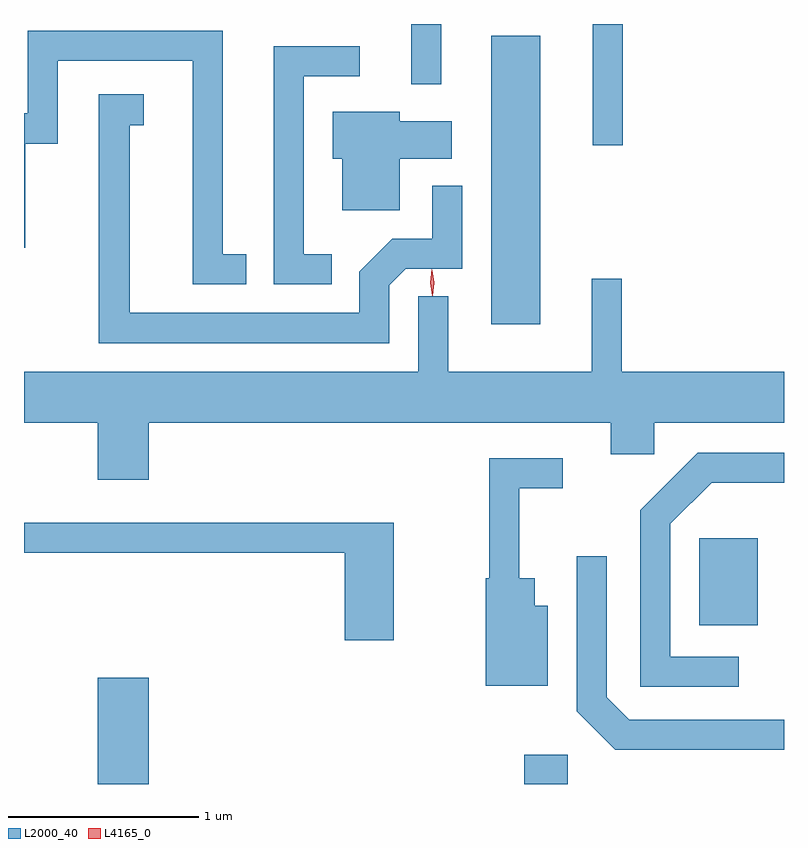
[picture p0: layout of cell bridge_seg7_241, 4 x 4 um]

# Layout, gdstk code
import gdstk
lib = gdstk.Library(unit=1e-6, precision=1e-09)
def R(c, l, rs):  # rectangles x0, y0, x1, y1
    for r in rs: c.add(gdstk.rectangle(r[:2], r[2:], *l))
def P(c, l, *ps):  # polygons
    for p in ps: c.add(gdstk.Polygon(p, *l))
L2000_40 = (2000, 40)
L4165_0 = (4165, 0)

bridge_seg7_241 = lib.new_cell('bridge_seg7_241')
R(bridge_seg7_241, L2000_40, [(1793.496,1719.075,1793.764,1719.634), (1795.741,1719.075,1795.969,1719.229), (1796.661,1719.911,1796.969,1720.369), (1795.566,1721.496,1795.824,1723.014), (1796.101,1722.438,1796.259,1723.075), (1795.146,1722.758,1795.304,1723.075)])
P(bridge_seg7_241, L2000_40, [(1794.278,1721.864),(1794.154,1721.864),(1794.154,1723.039),(1793.126,1723.039),(1793.126,1722.604),(1793.107,1722.604),(1793.107,1721.898),(1793.114,1721.898),(1793.114,1722.446),(1793.284,1722.446),(1793.284,1722.881),(1793.996,1722.881),(1793.996,1721.706),(1794.278,1721.706)],
  [(1794.728,1721.864),(1794.579,1721.864),(1794.579,1722.801),(1794.873,1722.801),(1794.873,1722.959),(1794.421,1722.959),(1794.421,1721.706),(1794.728,1721.706)],
  [(1795.029,1721.699),(1795.117,1721.786),(1795.414,1721.786),(1795.414,1722.223),(1795.256,1722.223),(1795.256,1721.944),(1795.044,1721.944),(1794.871,1721.772),(1794.871,1721.554),(1793.664,1721.554),(1793.664,1722.541),(1793.738,1722.541),(1793.738,1722.704),(1793.501,1722.704),(1793.501,1721.396),(1795.029,1721.396)],
  [(1795.084,1722.366),(1795.359,1722.366),(1795.359,1722.564),(1795.084,1722.564),(1795.084,1722.614),(1794.731,1722.614),(1794.731,1722.366),(1794.781,1722.366),(1794.781,1722.096),(1795.084,1722.096)],
  [(1793.764,1720.976),(1796.196,1720.976),(1796.196,1720.811),(1796.424,1720.811),(1796.424,1720.976),(1797.107,1720.976),(1797.107,1721.244),(1796.254,1721.244),(1796.254,1721.733),(1796.096,1721.733),(1796.096,1721.244),(1795.339,1721.244),(1795.339,1721.643),(1795.181,1721.643),(1795.181,1721.244),(1793.107,1721.244),(1793.107,1720.976),(1793.496,1720.976),(1793.496,1720.676),(1793.764,1720.676)],
  [(1796.868,1719.744),(1796.509,1719.744),(1796.509,1720.444),(1796.727,1720.661),(1797.107,1720.661),(1797.107,1720.819),(1796.654,1720.819),(1796.351,1720.517),(1796.351,1719.586),(1796.868,1719.586)],
  [(1795.864,1720.014),(1795.794,1720.014),(1795.794,1720.159),(1795.714,1720.159),(1795.714,1720.631),(1795.943,1720.631),(1795.943,1720.789),(1795.556,1720.789),(1795.556,1720.159),(1795.536,1720.159),(1795.536,1719.591),(1795.864,1719.591)],
  [(1795.054,1720.449),(1793.107,1720.449),(1793.107,1720.291),(1794.796,1720.291),(1794.796,1719.831),(1795.054,1719.831)],
  [(1797.107,1719.414),(1796.292,1719.414),(1796.174,1719.532),(1796.174,1720.273),(1796.016,1720.273),(1796.016,1719.459),(1796.219,1719.256),(1797.107,1719.256)])
P(bridge_seg7_241, L4165_0, [(1795.257,1721.647),(1795.256,1721.648),(1795.245,1721.714),(1795.254,1721.78),(1795.254,1721.781),(1795.255,1721.78),(1795.265,1721.714),(1795.257,1721.648)],
  [(1795.256,1721.644),(1795.256,1721.645),(1795.245,1721.713),(1795.253,1721.783),(1795.254,1721.783),(1795.254,1721.783),(1795.265,1721.714),(1795.257,1721.645)])

lib.write_gds('bridge_seg7_241.gds')
